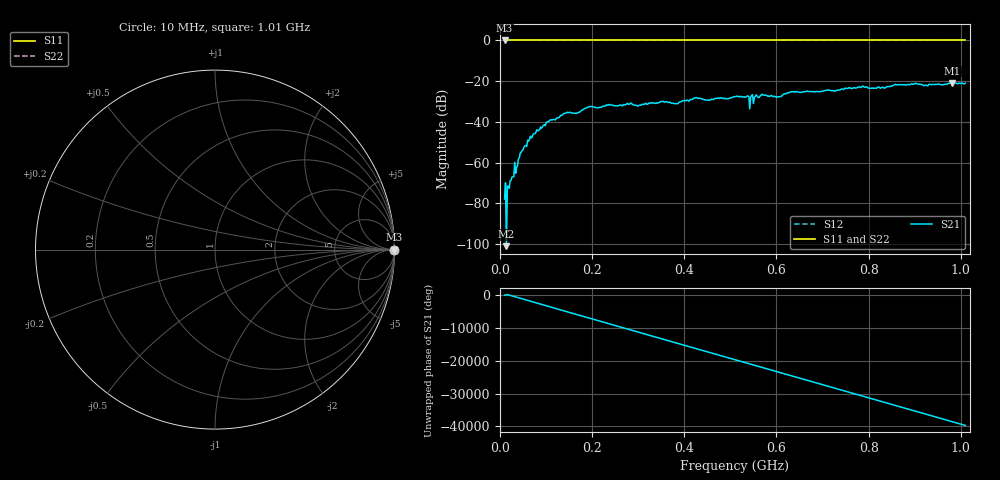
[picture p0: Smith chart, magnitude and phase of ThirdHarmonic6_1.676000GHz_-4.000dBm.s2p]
! 8/16/2025 8:06:09 PM
! C:\ANRITSUVNA\TEMP\TEMP.S2P
! CHANNEL.1
! TR.MEASUREMENT
! RAW.DATA
! RF.CORRECTION.OFF
! AVERAGING.OFF
! IF.BANDWIDTH: 5KHZ
! SWEEPTYPE:  FREQ.SWEEP(Linear)
! Reference Plane Port Info
! PORT:  PORT1  PORT2
! DISTANCE:  0  m  0  m
! TIME:  0  s  0  s
! PHASE.OFFSET:  0  deg.  0  deg.
! LOSS:  0  dB  0  dB
! REF.LOSS:  0  dB  0  dB
! REF.FREQ:  0  Hz  0  Hz
! Power Info
! POWER:  -20  dBm  -20  dBm
! EFF.POWER:  -20  dBm  -20  dBm
! SOURCE.ATTEN:  0  dB  0  dB
! TEST.ATTEN:  0  dB  0  dB
# GHZ S RI R 50.0
! FREQ.GHZ  S11RE  S11IM  S21RE  S21IM  S12RE  S12IM  S22RE  S22IM
!; PortSelection: Port_12
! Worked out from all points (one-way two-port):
!   501 points, 10 MHz to 1.01 GHz, reference 50 ohm
!   highest |S21| = -20.82 dB at 982 MHz (marker M1); lowest = -101.0 dB at 14 MHz (marker M2)
!   lowest |S11| = 0.0 dB at 10 MHz (marker M3)
!   |S11| at or under -10 dB: nowhere
!   |S22| runs from 0.0 to 0.0 dB; largest |S21 - S12| = 1.1
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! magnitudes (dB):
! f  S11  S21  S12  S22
! 10 MHz  0.0  -77.9  0.0  0.0
! 14 MHz  0.0  -101.0  0.0  0.0
! 48 MHz  0.0  -54.1  0.0  0.0
! 76 MHz  0.0  -45.7  0.0  0.0
! 106 MHz  0.0  -39.7  0.0  0.0
! 142 MHz  0.0  -35.7  0.0  0.0
! 178 MHz  0.0  -34.3  0.0  0.0
! 196 MHz  0.0  -32.4  0.0  0.0
! 344 MHz  0.0  -30.7  0.0  0.0
! 382 MHz  0.0  -31.0  0.0  0.0
! 424 MHz  0.0  -28.2  0.0  0.0
! 452 MHz  0.0  -29.2  0.0  0.0
! 510 MHz  0.0  -27.5  0.0  0.0
! 536 MHz  0.0  -27.4  0.0  0.0
! 546 MHz  0.0  -27.0  0.0  0.0
! 570 MHz  0.0  -26.7  0.0  0.0
! 604 MHz  0.0  -27.7  0.0  0.0
! 634 MHz  0.0  -25.1  0.0  0.0
! 678 MHz  0.0  -25.2  0.0  0.0
! 844 MHz  0.0  -22.6  0.0  0.0
! 982 MHz  0.0  -20.8  0.0  0.0
! 1.01 GHz  0.0  -21.0  0.0  0.0
